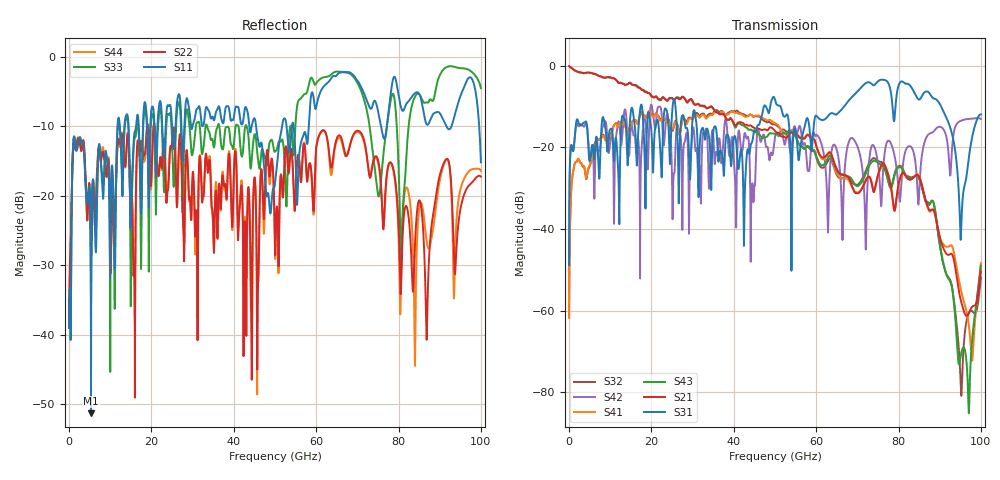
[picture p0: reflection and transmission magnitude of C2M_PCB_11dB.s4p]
! Info: Touchstone file created by Circ.  Input file=Intel_C2M_200G_1in_202204012_staggered.circ
# Hz S RI R 50
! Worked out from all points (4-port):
!   10000 points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, 10 MHz to 100 GHz, reference 50 ohm
!   strongest paths, dB at 10 MHz, 25.01 GHz, 50.01 GHz, 75.01 GHz, 100 GHz:
!     S31: -48.8, -11.7, -8.4, -3.8, -11.9
!     S21: -0.1, -7.9, -16.0, -26.7, -50.4
!     S43: -0.1, -7.9, -16.7, -23.8, -49.0
!     S41: -61.7, -15.5, -14.0, -26.8, -48.4
!     S42: -48.8, -28.3, -17.4, -23.9, -13.0
!     S32: -61.7, -15.9, -14.4, -23.3, -51.9
!   lowest |S11| = -51.3 dB at 5.32 GHz (marker M1), VSWR 1.01, Z = 50 + j0.269 ohm
!   |S11| at or under -10 dB: start of sweep to 11.76 GHz; 45.41 GHz to 51.7 GHz (6.296 GHz wide, 13 % of centre); 54.53 GHz to 58.2 GHz (3.675 GHz wide, 6.52 % of centre) (the widest 3 of 17)
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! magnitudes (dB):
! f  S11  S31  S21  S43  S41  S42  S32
! 10 MHz  -39.0  -48.8  -0.1  -0.1  -61.7  -48.8  -61.7
! 1.29 GHz  -11.6  -18.8  -1.1  -1.1  -24.2  -18.2  -24.2
! 5.32 GHz  -51.3  -21.6  -1.7  -1.7  -23.6  -21.8  -23.8
! 84.62 GHz  -5.1  -8.0  -26.8  -27.0  -26.6  -30.9  -27.0
! 95.13 GHz  -5.5  -42.3  -57.5  -70.9  -54.8  -13.5  -79.1
! 96.99 GHz  -3.1  -23.2  -60.8  -83.3  -62.9  -13.0  -60.8
! 100 GHz  -15.2  -11.9  -50.4  -49.0  -48.4  -13.0  -51.9
